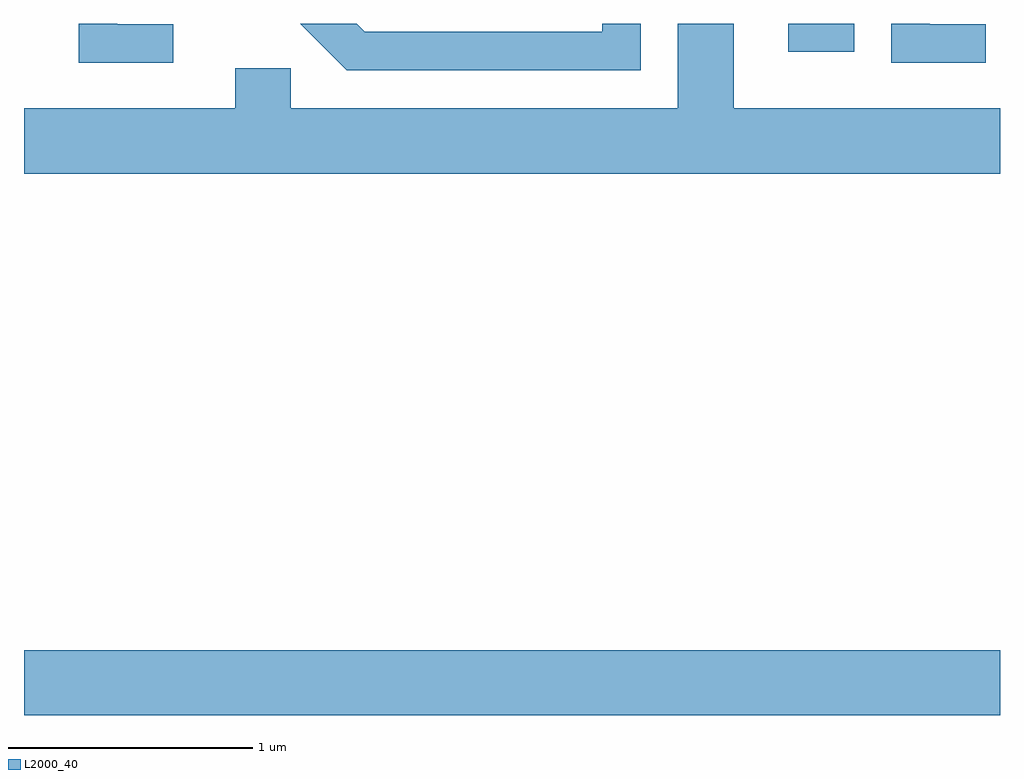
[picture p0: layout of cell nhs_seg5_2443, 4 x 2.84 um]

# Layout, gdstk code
import gdstk
lib = gdstk.Library(unit=1e-6, precision=1e-09)
def R(c, l, rs):  # rectangles x0, y0, x1, y1
    for r in rs: c.add(gdstk.rectangle(r[:2], r[2:], *l))
def P(c, l, *ps):  # polygons
    for p in ps: c.add(gdstk.Polygon(p, *l))
L2000_40 = (2000, 40)

nhs_seg5_2443 = lib.new_cell('nhs_seg5_2443')
R(nhs_seg5_2443, L2000_40, [(257.611,1461.236,261.611,1461.504), (260.743,1463.956,261.014,1464.072)])
P(nhs_seg5_2443, L2000_40, [(261.611,1463.724),(260.519,1463.724),(260.519,1464.072),(260.291,1464.072),(260.291,1463.724),(258.704,1463.724),(258.704,1463.889),(258.476,1463.889),(258.476,1463.724),(257.611,1463.724),(257.611,1463.456),(261.611,1463.456)],
  [(261.553,1464.069),(261.324,1464.069),(261.324,1464.072),(261.166,1464.072),(261.166,1463.911),(261.553,1463.911)],
  [(260.139,1464.072),(259.981,1464.072),(259.981,1464.039),(259.007,1464.039),(258.974,1464.072),(258.743,1464.072),(258.933,1463.881),(260.139,1463.881)],
  [(258.223,1464.069),(257.994,1464.069),(257.994,1464.072),(257.836,1464.072),(257.836,1463.911),(258.223,1463.911)])

lib.write_gds('nhs_seg5_2443.gds')
